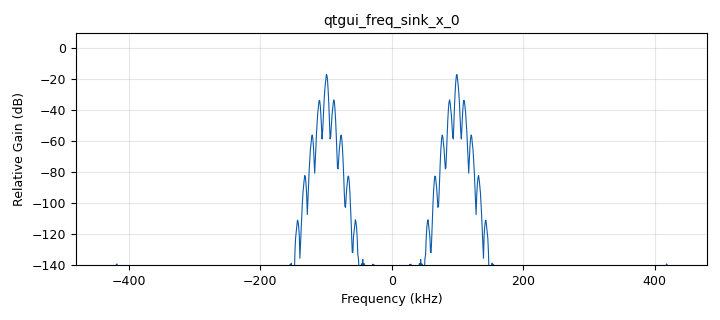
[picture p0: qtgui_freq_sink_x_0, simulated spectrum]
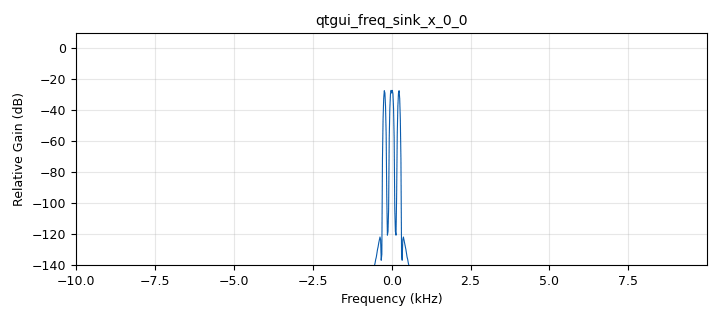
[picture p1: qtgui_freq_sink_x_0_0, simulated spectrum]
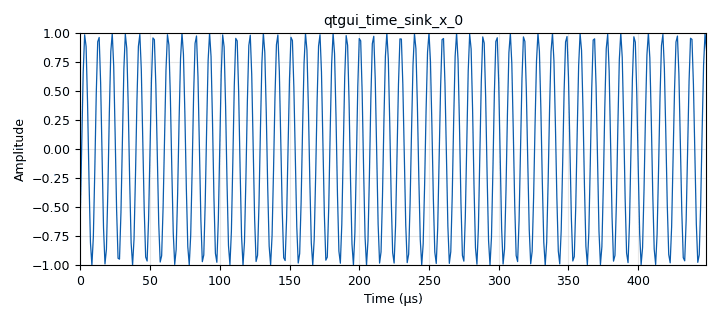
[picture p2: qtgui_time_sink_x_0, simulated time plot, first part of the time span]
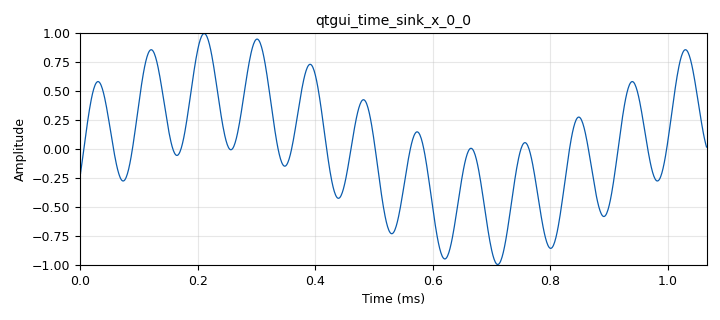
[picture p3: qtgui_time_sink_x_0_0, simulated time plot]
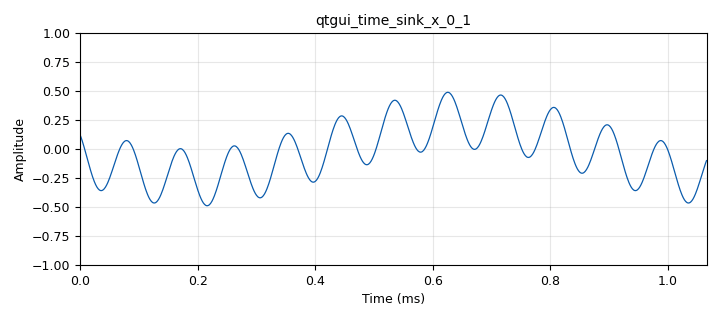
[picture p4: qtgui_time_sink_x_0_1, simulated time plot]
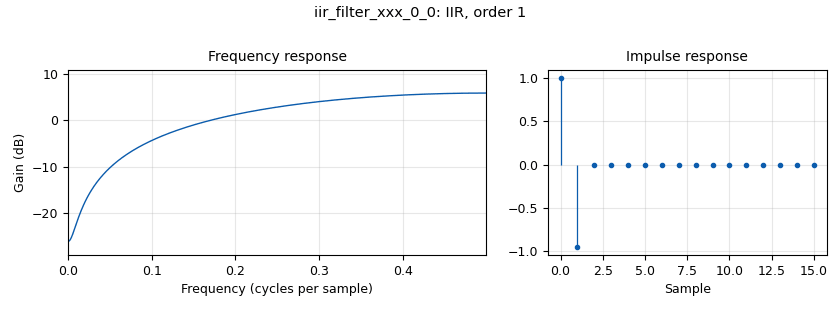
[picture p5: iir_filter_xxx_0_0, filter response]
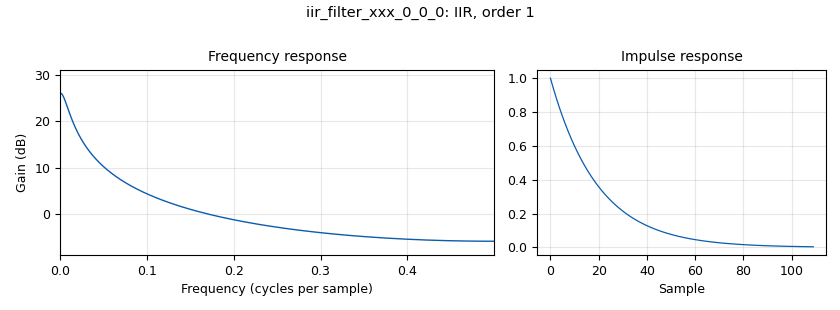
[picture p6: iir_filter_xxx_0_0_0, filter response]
options:
  parameters:
    generate_options: qt_gui
    id: untitled
    output_language: python
    title: Not titled yet
  states: {}

blocks:
- name: samp_rate
  id: variable
  parameters:
    value: 960e3
  states: {}
- name: analog_noise_source_x_0
  id: analog_noise_source_x
  parameters:
    amp: '0'
    noise_type: analog.GR_GAUSSIAN
    seed: '0'
    type: complex
  states: {}
- name: analog_phase_modulator_fc_0
  id: analog_phase_modulator_fc
  parameters:
    sensitivity: 2*22*75000/7
  states: {}
- name: analog_phase_modulator_fc_0_0
  id: analog_phase_modulator_fc
  parameters:
    sensitivity: 2*22*75000/7
  states: {state: disabled}
- name: analog_sig_source_x_0
  id: analog_sig_source_x
  parameters:
    amp: '0.5'
    freq: '11000'
    offset: '0'
    phase: '0'
    samp_rate: samp_rate
    type: float
    waveform: analog.GR_SIN_WAVE
  states: {}
- name: analog_sig_source_x_0_0
  id: analog_sig_source_x
  parameters:
    amp: '0.5'
    freq: '1100'
    offset: '0'
    phase: '0'
    samp_rate: samp_rate
    type: float
    waveform: analog.GR_SIN_WAVE
  states: {}
- name: analog_sig_source_x_0_0_0
  id: analog_sig_source_x
  parameters:
    amp: '1'
    freq: '100000'
    offset: '0'
    phase: '0'
    samp_rate: samp_rate
    type: complex
    waveform: analog.GR_COS_WAVE
  states: {}
- name: blocks_add_xx_0
  id: blocks_add_xx
  parameters:
    type: float
  states: {}
- name: blocks_add_xx_0_0
  id: blocks_add_xx
  parameters:
    type: complex
  states: {}
- name: blocks_complex_to_arg_0
  id: blocks_complex_to_arg
  parameters: {}
  states: {}
- name: blocks_complex_to_real_0
  id: blocks_complex_to_real
  parameters: {}
  states: {}
- name: blocks_delay_0
  id: blocks_delay
  parameters:
    delay: '1'
    type: complex
  states: {}
- name: blocks_divide_xx_0
  id: blocks_divide_xx
  parameters:
    type: complex
  states: {}
- name: blocks_multiply_xx_0
  id: blocks_multiply_xx
  parameters:
    type: complex
  states: {}
- name: dc_blocker_xx_0
  id: dc_blocker_xx
  parameters:
    length: '5000'
    long_form: 'True'
    type: ff
  states: {}
- name: iir_filter_xxx_0
  id: iir_filter_xxx
  parameters:
    fbtaps: '[1,1]'
    fftaps: '[1/samp_rate]'
    type: ffd
  states: {}
- name: iir_filter_xxx_0_0
  id: iir_filter_xxx
  parameters:
    fbtaps: '[1]'
    fftaps: '[1, -0.95]'
    type: ffd
  states: {}
- name: iir_filter_xxx_0_0_0
  id: iir_filter_xxx
  parameters:
    fbtaps: '[1, 0.95]'
    fftaps: '[1]'
    type: ffd
  states: {}
- name: low_pass_filter_0
  id: low_pass_filter
  parameters:
    decim: '1'
    gain: '1'
    samp_rate: samp_rate
    type: fir_filter_ccf
    win: window.WIN_HAMMING
  states: {state: disabled}
- name: qtgui_freq_sink_x_0
  id: qtgui_freq_sink_x
  parameters:
    bw: samp_rate
    fc: '0'
    fftsize: '1024'
    gui_hint: tab@2
    type: float
  states: {}
- name: qtgui_freq_sink_x_0_0
  id: qtgui_freq_sink_x
  parameters:
    bw: '20000'
    fc: '0'
    fftsize: '1024'
    gui_hint: tab@4
    type: float
  states: {}
- name: qtgui_time_sink_x_0
  id: qtgui_time_sink_x
  parameters:
    gui_hint: tab@1
    size: '1024'
    srate: samp_rate
    type: float
  states: {}
- name: qtgui_time_sink_x_0_0
  id: qtgui_time_sink_x
  parameters:
    gui_hint: tab@0
    size: '1024'
    srate: samp_rate
    type: float
  states: {}
- name: qtgui_time_sink_x_0_1
  id: qtgui_time_sink_x
  parameters:
    gui_hint: tab@3
    size: '1024'
    srate: samp_rate
    type: float
  states: {}
- name: tab
  id: qtgui_tab_widget
  parameters:
    label0: Message
    label1: Modulated
    label2: Modulated (freq)
    label3: Demodulated
    label4: Demodulated (freq)
    num_tabs: '5'
  states: {}

connections:
- [analog_noise_source_x_0, '0', blocks_add_xx_0_0, '1']
- [analog_phase_modulator_fc_0, '0', blocks_multiply_xx_0, '1']
- [analog_phase_modulator_fc_0_0, '0', blocks_multiply_xx_0, '0']
- [analog_sig_source_x_0, '0', blocks_add_xx_0, '1']
- [analog_sig_source_x_0_0, '0', blocks_add_xx_0, '0']
- [analog_sig_source_x_0_0_0, '0', analog_phase_modulator_fc_0_0, '0']
- [analog_sig_source_x_0_0_0, '0', blocks_multiply_xx_0, '0']
- [blocks_add_xx_0, '0', iir_filter_xxx_0, '0']
- [blocks_add_xx_0, '0', qtgui_time_sink_x_0_0, '0']
- [blocks_add_xx_0_0, '0', blocks_delay_0, '0']
- [blocks_add_xx_0_0, '0', blocks_divide_xx_0, '0']
- [blocks_complex_to_arg_0, '0', dc_blocker_xx_0, '0']
- [blocks_complex_to_real_0, '0', qtgui_freq_sink_x_0, '0']
- [blocks_complex_to_real_0, '0', qtgui_time_sink_x_0, '0']
- [blocks_delay_0, '0', blocks_divide_xx_0, '1']
- [blocks_divide_xx_0, '0', blocks_complex_to_arg_0, '0']
- [blocks_multiply_xx_0, '0', blocks_add_xx_0_0, '0']
- [blocks_multiply_xx_0, '0', blocks_complex_to_real_0, '0']
- [dc_blocker_xx_0, '0', iir_filter_xxx_0_0_0, '0']
- [iir_filter_xxx_0, '0', iir_filter_xxx_0_0, '0']
- [iir_filter_xxx_0_0, '0', analog_phase_modulator_fc_0, '0']
- [iir_filter_xxx_0_0_0, '0', qtgui_freq_sink_x_0_0, '0']
- [iir_filter_xxx_0_0_0, '0', qtgui_time_sink_x_0_1, '0']

metadata:
  file_format: 1
  grc_version: 3.10.7.0
